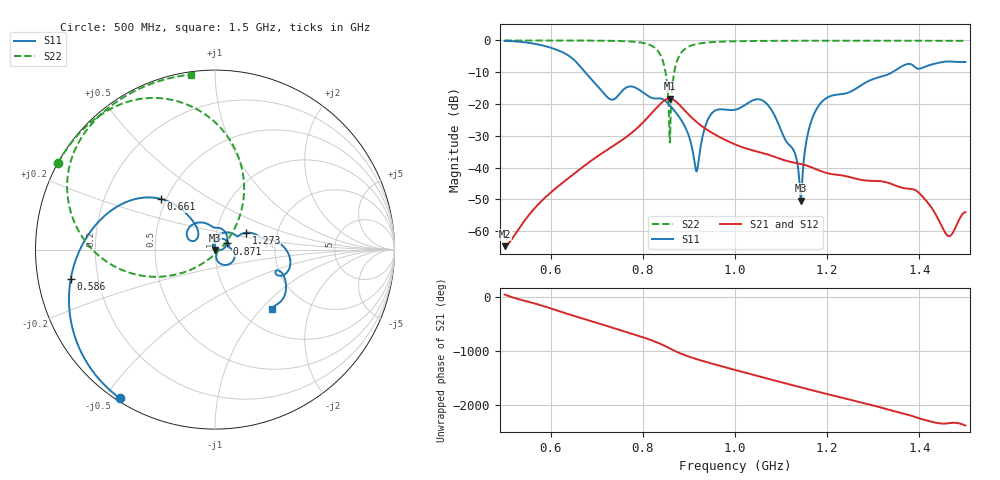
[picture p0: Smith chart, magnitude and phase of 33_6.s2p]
! TOUCHSTONE file generated by CST MICROWAVE STUDIO
! Date and time: Fri Oct  2 18:59:31 2020
! Project name: Scenario_1_Free_Space_out_of_line.cst
! Parameters = {Lambda=346.42; Step_1=17.321; dy1=-207.272; dx1=1039; L_HA=400; MT=2.54; Rad_Dielectric=30; Rad_Lower=7.3; Rad_Upper=30; a_HA=580; a_WG=246; b_HA=500; b_WG=121; c_HA=0; c_WG=187; d_feed=85; h_feed=15; h_lower=18; h_upper=40}
! Header version: 2018
! Port assignment regex: !\s*Touchstone port\s*([0-9]+)\s*=\s*(CST MWS port|CST DS port)\s*([0-9]+|Zmin|Zmax)\s*\(\"(.*)\"\)(\s*mode\s*([0-9]+))?.*
! Touchstone port assignment:
! Touchstone port 1 = CST MWS port 1 ("")
! Touchstone port 2 = CST MWS port 2 ("")
# GHz S DB R 50
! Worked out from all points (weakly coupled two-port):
!   1003 points, 500 MHz to 1.5 GHz, reference 50 ohm
!   highest |S21| = -18.26 dB at 858 MHz (marker M1); lowest = -64.7 dB at 500 MHz (marker M2)
!   lowest |S11| = -50.3 dB at 1.143 GHz (marker M3), VSWR 1.01, Z = 49.7 - j0.146 ohm
!   |S11| at or under -10 dB: 674.8 MHz to 1.341 GHz (666.4 MHz wide, 66.1 % of centre)
!   |S22| runs from -32.1 to 0.0 dB; largest |S21 - S12| = 1.5e-05
!   S11 on the Smith chart (normalised r, x): 500 MHz: 0.01, -0.55; 586 MHz: 0.10, -0.10; 661 MHz: 0.47, +0.32; 871 MHz: 1.14, +0.08; 1.273 GHz: 1.38, +0.27; 1.5 GHz: 1.38, -1.15
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0.5  -0.15 -122.6  -64.67 43.6  -64.67 43.6  -0.01 151.1
0.586  -1.71 -168.4  -49.64 -174.8  -49.64 -174.8  -0.02 145.1
0.661  -7.67 136.9  -40.73 -20.5  -40.73 -20.5  -0.04 138.9
0.667  -8.68 133.7  -40.07 -36.1  -40.07 -36.1  -0.04 138.3
0.73  -18.54 143.8  -33.72 158.5  -33.72 158.5  -0.13 130.7
0.773  -14.45 138.5  -29.38 44.2  -29.38 44.2  -0.33 122.2
0.834  -18.21 82.8  -20.54 -137.6  -20.54 -137.6  -3.57 86.1
0.847  -18.79 62.2  -18.80 171.6  -18.80 171.6  -8.38 64.8
0.858  -20.32 44.8  -18.26 124.1  -18.26 124.1  -31.54 0.8
0.871  -22.57 27.6  -19.11 68.9  -19.11 68.9  -8.03 -157.7
0.916  -41.15 36.7  -25.55 -74.9  -25.55 -74.9  -1.15 159.8
0.947  -23.40 63.1  -28.78 -152.8  -28.78 -152.8  -0.56 149.7
1  -21.78 7.8  -32.67 82.8  -32.67 82.8  -0.26 140.2
1.071  -20.24 -60.8  -35.86 -79.7  -35.86 -79.7  -0.14 132.3
1.128  -34.78 -59.3  -38.40 153.4  -38.40 153.4  -0.11 127.2
1.143  -50.33 -151.2  -38.84 119.5  -38.84 119.5  -0.10 126.0
1.167  -24.76 89.5  -39.93 64.2  -39.93 64.2  -0.10 124.1
1.273  -14.16 28.7  -43.81 -161.0  -43.81 -161.0  -0.08 116.0
1.334  -10.55 11.0  -44.83 62.1  -44.83 62.1  -0.09 111.4
1.398  -8.90 -20.3  -47.74 -91.9  -47.74 -91.9  -0.10 106.4
1.463  -6.61 -36.2  -61.49 171.1  -61.49 171.2  -0.12 101.0
1.5  -6.79 -45.8  -54.01 130.7  -54.00 130.3  -0.14 97.8
